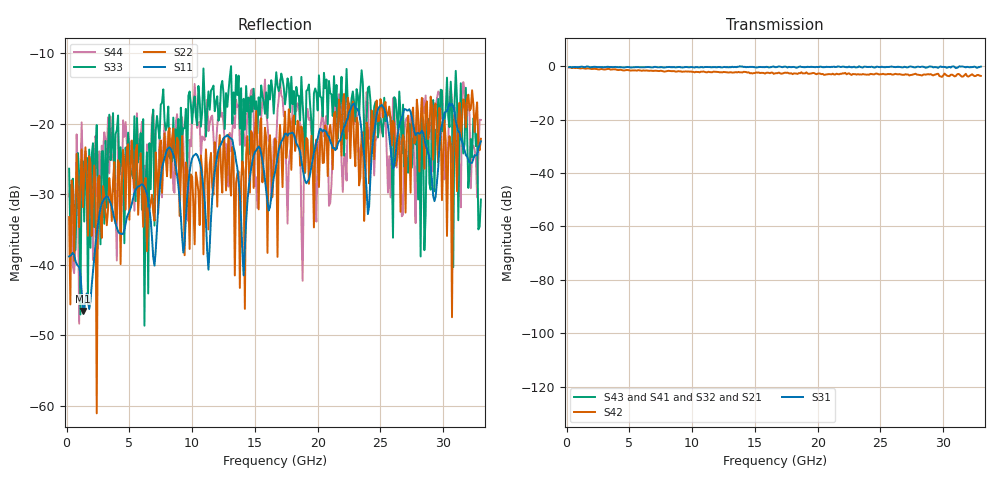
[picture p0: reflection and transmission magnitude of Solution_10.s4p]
# GHZ S RI R 50
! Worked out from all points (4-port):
!   329 points, 200 MHz to 33 GHz, reference 50 ohm
!   strongest paths, dB at 200 MHz, 8.4 GHz, 16.6 GHz, 24.8 GHz, 33 GHz:
!     S31: -0.4, -0.4, -0.4, -0.3, -0.2
!     S42: -0.5, -1.9, -2.7, -3.0, -3.6
!     S43: -, -, -, -, -
!     S41: -, -, -, -, -
!     S32: -, -, -, -, -
!     S21: -, -, -, -, -
!   lowest |S11| = -46.6 dB at 1.3 GHz (marker M1), VSWR 1.01, Z = 49.6 + j0.272 ohm
!   |S11| at or under -10 dB: start of sweep to end of sweep
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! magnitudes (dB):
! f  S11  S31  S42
! 200 MHz  -38.8  -0.4  -0.5
! 1.3 GHz  -46.6  -0.3  -0.7
! 2.2 GHz  -39.0  -0.2  -1.0
! 2.4 GHz  -35.6  -0.3  -1.1
! 2.5 GHz  -34.2  -0.3  -1.2
! 5.2 GHz  -31.3  -0.5  -1.6
! 33 GHz  -22.5  -0.2  -3.6
